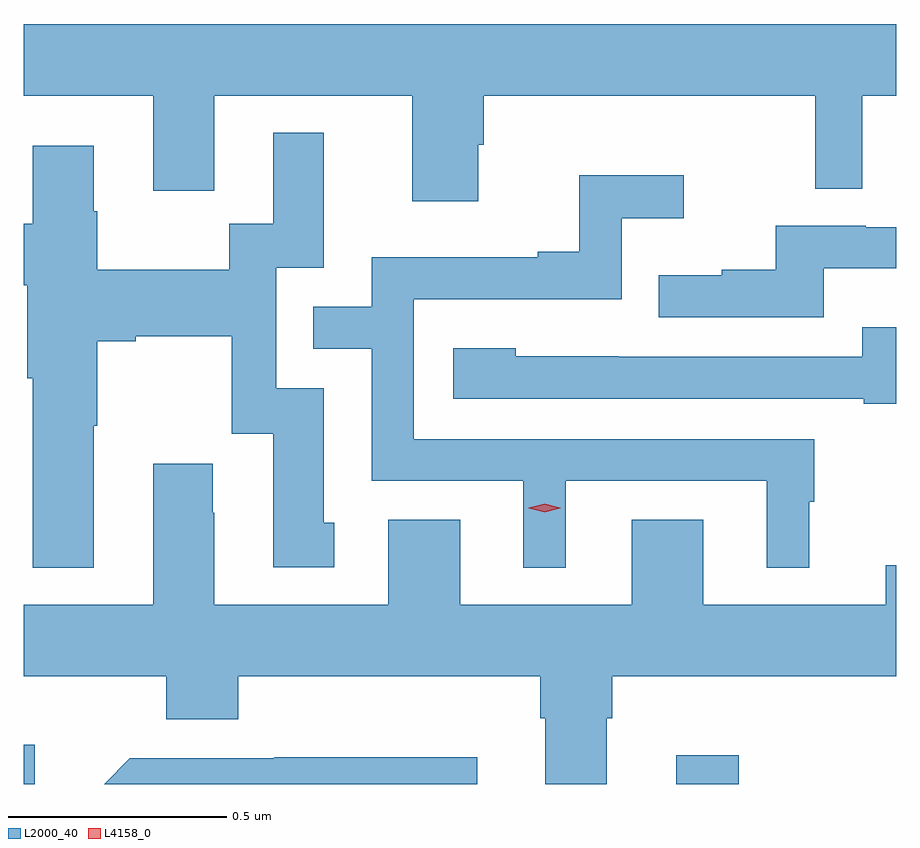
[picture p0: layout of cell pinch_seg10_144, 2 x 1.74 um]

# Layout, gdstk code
import gdstk
lib = gdstk.Library(unit=1e-6, precision=1e-09)
def R(c, l, rs):  # rectangles x0, y0, x1, y1
    for r in rs: c.add(gdstk.rectangle(r[:2], r[2:], *l))
def P(c, l, *ps):  # polygons
    for p in ps: c.add(gdstk.Polygon(p, *l))
L2000_40 = (2000, 40)
L4158_0 = (4158, 0)

pinch_seg10_144 = lib.new_cell('pinch_seg10_144')
R(pinch_seg10_144, L2000_40, [(694.437,1276.093,694.462,1276.183), (695.933,1276.093,696.076,1276.159)])
P(pinch_seg10_144, L2000_40, [(695.479,1277.559),(695.492,1277.559),(695.492,1277.672),(696.252,1277.672),(696.252,1277.458),(696.36,1277.458),(696.36,1277.672),(696.437,1277.672),(696.437,1277.836),(694.437,1277.836),(694.437,1277.672),(694.733,1277.672),(694.733,1277.454),(694.873,1277.454),(694.873,1277.672),(695.327,1277.672),(695.327,1277.43),(695.479,1277.43)],
  [(694.597,1276.915),(694.605,1276.915),(694.605,1277.108),(694.693,1277.108),(694.693,1277.12),(694.913,1277.12),(694.913,1276.896),(695.009,1276.896),(695.009,1276.59),(695.149,1276.59),(695.149,1276.692),(695.125,1276.692),(695.125,1277.001),(695.016,1277.001),(695.016,1277.277),(695.125,1277.277),(695.125,1277.587),(695.009,1277.587),(695.009,1277.378),(694.908,1277.378),(694.908,1277.272),(694.605,1277.272),(694.605,1277.406),(694.597,1277.406),(694.597,1277.557),(694.457,1277.557),(694.457,1277.378),(694.437,1277.378),(694.437,1277.237),(694.445,1277.237),(694.445,1277.024),(694.457,1277.024),(694.457,1276.589),(694.597,1276.589)],
  [(695.68,1276.788),(696.14,1276.788),(696.14,1276.589),(696.238,1276.589),(696.238,1276.74),(696.25,1276.74),(696.25,1276.884),(695.331,1276.884),(695.331,1277.205),(695.808,1277.205),(695.808,1277.39),(695.95,1277.39),(695.95,1277.489),(695.71,1277.489),(695.71,1277.314),(695.615,1277.314),(695.615,1277.301),(695.235,1277.301),(695.235,1277.187),(695.101,1277.187),(695.101,1277.091),(695.235,1277.091),(695.235,1276.788),(695.582,1276.788),(695.582,1276.589),(695.68,1276.589)],
  [(696.271,1277.276),(696.437,1277.276),(696.437,1277.37),(696.368,1277.37),(696.368,1277.373),(696.161,1277.373),(696.161,1277.272),(696.037,1277.272),(696.037,1277.26),(695.893,1277.26),(695.893,1277.163),(696.271,1277.163)],
  [(696.437,1277.14),(696.359,1277.14),(696.359,1277.073),(695.801,1277.073),(695.801,1277.074),(695.565,1277.074),(695.565,1277.092),(695.421,1277.092),(695.421,1276.977),(696.363,1276.977),(696.363,1276.965),(696.437,1276.965)],
  [(695.437,1276.699),(695.273,1276.699),(695.273,1276.504),(694.873,1276.504),(694.873,1276.715),(694.87,1276.715),(694.87,1276.828),(694.733,1276.828),(694.733,1276.504),(694.437,1276.504),(694.437,1276.34),(694.763,1276.34),(694.763,1276.241),(694.928,1276.241),(694.928,1276.34),(695.621,1276.34),(695.621,1276.244),(695.633,1276.244),(695.633,1276.093),(695.773,1276.093),(695.773,1276.244),(695.786,1276.244),(695.786,1276.34),(696.437,1276.34),(696.437,1276.595),(696.413,1276.595),(696.413,1276.504),(695.995,1276.504),(695.995,1276.699),(695.831,1276.699),(695.831,1276.504),(695.437,1276.504)],
  [(695.476,1276.154),(695.011,1276.154),(695.011,1276.152),(694.68,1276.152),(694.621,1276.093),(695.476,1276.093)])
P(pinch_seg10_144, L4158_0, [(695.631,1276.716),(695.595,1276.725),(695.595,1276.726),(695.595,1276.726),(695.631,1276.736),(695.667,1276.726),(695.667,1276.726),(695.667,1276.725)])

lib.write_gds('pinch_seg10_144.gds')
